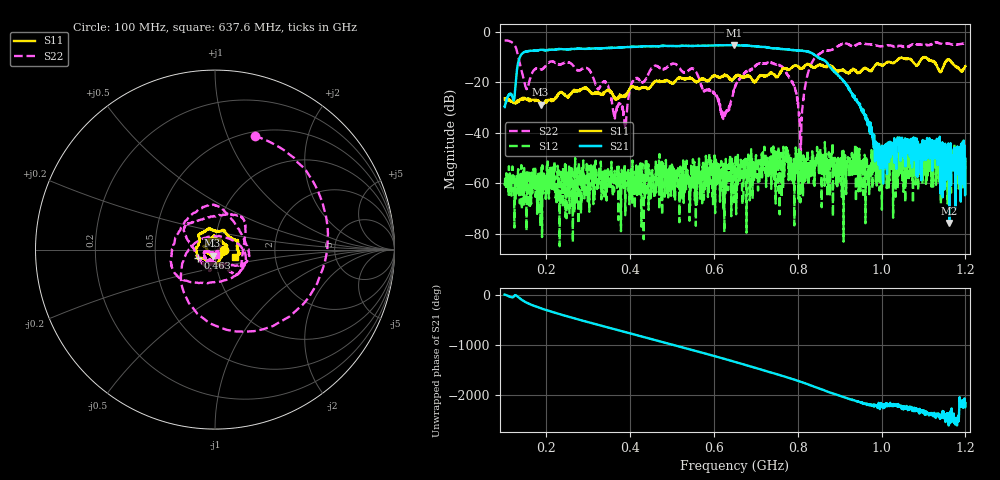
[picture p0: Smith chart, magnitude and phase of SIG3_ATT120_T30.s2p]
# Hz S DB R 50
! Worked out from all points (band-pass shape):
!   1601 points, 100 MHz to 1.2 GHz, reference 50 ohm
!   highest |S21| = -5.22 dB at 647.2 MHz (marker M1); lowest = -75.7 dB at 1.161 GHz (marker M2)
!   |S21| within 3 dB of the highest: 144.8 MHz to 830.7 MHz (685.9 MHz wide, 141 % of centre)
!   lowest |S11| = -28.9 dB at 185.9 MHz (marker M3), VSWR 1.07, Z = 48.5 - j3.22 ohm
!   |S11| at or under -10 dB: start of sweep to 1.1 GHz; 1.100327 GHz to 1.102878 GHz (2.551 MHz wide, 0.232 % of centre); 1.103 GHz to end of sweep
!   |S22| runs from -54.3 to -3.4 dB; largest |S21 - S12| = 0.55
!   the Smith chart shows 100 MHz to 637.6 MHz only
!   S11 on the Smith chart (normalised r, x): 100 MHz: 1.10, -0.00; 463 MHz: 0.82, -0.08; 637.6 MHz: 1.24, -0.11
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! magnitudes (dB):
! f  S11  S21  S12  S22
! 100 MHz  -26.4  -29.6  -60.1  -3.5
! 151.6 MHz  -26.6  -7.8  -56.1  -22.3
! 185.9 MHz  -28.9  -7.1  -56.0  -15.0
! 283.6 MHz  -22.8  -6.7  -68.1  -14.9
! 387.4 MHz  -25.8  -6.1  -59.8  -37.0
! 407.3 MHz  -21.6  -6.0  -63.1  -19.1
! 463 MHz  -19.3  -5.8  -54.0  -13.5
! 467.1 MHz  -19.6  -5.7  -54.7  -13.9
! 550.3 MHz  -18.8  -5.6  -58.0  -14.5
! 620.4 MHz  -17.5  -5.3  -57.6  -34.1
! 637.6 MHz  -18.5  -5.3  -49.1  -29.6
! 647.2 MHz  -18.6  -5.2  -67.5  -22.9
! 650 MHz  -18.0  -5.3  -53.2  -21.7
! 757.9 MHz  -16.4  -6.8  -48.6  -13.3
! 792.3 MHz  -13.4  -7.3  -52.3  -21.5
! 806.8 MHz  -14.7  -7.4  -47.6  -54.3
! 833.6 MHz  -13.7  -8.5  -50.0  -12.2
! 918.1 MHz  -16.3  -21.1  -53.4  -4.8
! 998.6 MHz  -13.0  -54.0  -50.2  -5.7
! 1.017 GHz  -12.0  -45.1  -62.5  -5.3
! 1.161 GHz  -11.0  -75.7  -65.5  -4.7
! 1.2 GHz  -13.5  -50.3  -51.2  -4.5
